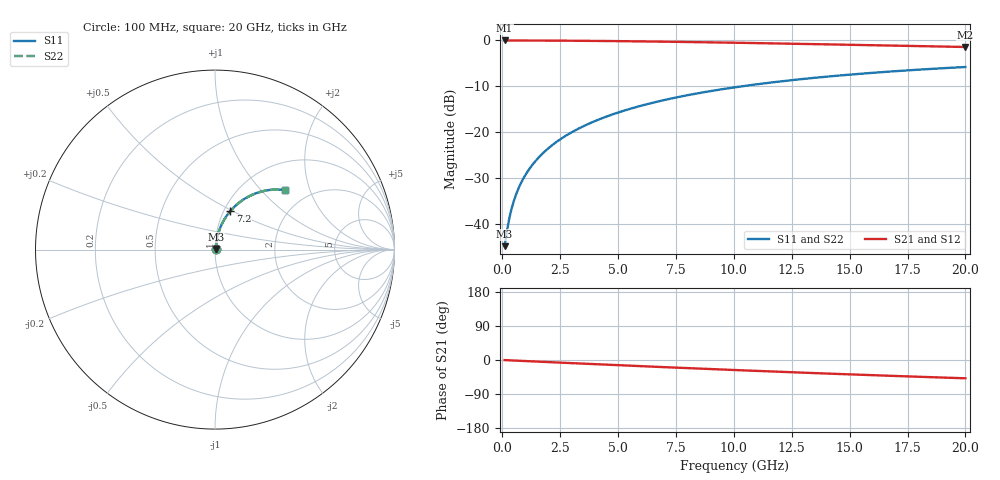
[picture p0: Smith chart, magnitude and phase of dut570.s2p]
! Touchstone file exported from HFSS 2026.1.0
!  File:  C:/ffzhzh/LocalFiles/Ansys_Project_Files/temp_train_BSMRDL_570_1783015505_51716.aedt
!  Generated:  02:06:30 AM Jul  3, 2026
!  Design:  BSMRDL
!  Project:  temp_train_BSMRDL_570_1783015505_51716
! Variables:
!  h_bsmrdl = 3.56um
!  h_ox = 20um
!  h_rdl = 5um
!  h_sub = 80um
!  h_tmrdl = 5um
!  h_tsv = 80um
!  h_via = 3um
!  l_bsmrdl = 662.79um
!  l_sub = 1062.79um
!  l_tmrdl = 200um
!  m_sub = 200um
!  pitch = 50.32um
!  r_tsv = 6um
!  s_tmrdl = 10um
!  w_bsmrdl = 14.57um
!  w_sub = 500um
!  w_tmrdl = 12um
!  x_tsv_center1 = 206um
!  x_tsv_center2 = 883.36um
!  x_tsv_center3 = 1095.36um
!  x_tsv_center4 = 1772.72um
!  x_tsv_center5 = 1984.72um
!  x_tsv_center6 = 2662.08um
# GHz S MA R 50.000000
! Terminal data exported
! Port[1] = BSM_RDL1_1_T1
! Port[2] = BSM_RDL1_1_T2
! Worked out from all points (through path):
!   200 points, 100 MHz to 20 GHz, reference 50 ohm
!   highest |S21| = -0.04 dB at 100 MHz (marker M1); lowest = -1.5 dB at 20 GHz (marker M2)
!   group delay of S21, straight-line fit = 6.72 ps
!   lowest |S11| = -44.7 dB at 100 MHz (marker M3), VSWR 1.01, Z = 50.5 + j0.355 ohm
!   |S11| at or under -10 dB: start of sweep to 10.34 GHz
!   |S22| runs from -44.7 to -5.8 dB; largest |S21 - S12| = 2.6e-15
!   S11 on the Smith chart (normalised r, x): 100 MHz: 1.01, +0.01; 7.2 GHz: 1.07, +0.48; 20 GHz: 1.53, +1.38
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0.1  0.005809 37.3  0.9954 -0.3  0.9954 -0.3  0.005809 37.3
! Gamma 0 0 0 0
! Port Impedance 50 0 50 0
0.2  0.008475 55.8  0.9953 -0.6  0.9953 -0.6  0.008475 55.8
0.3  0.01157 64.6  0.9951 -0.9  0.9951 -0.9  0.01157 64.6
0.4  0.0148 69.4  0.995 -1.1  0.995 -1.1  0.0148 69.4
0.5  0.01806 72.4  0.9948 -1.4  0.9948 -1.4  0.01806 72.4
0.6  0.02134 74.3  0.9946 -1.7  0.9946 -1.7  0.02134 74.3
0.8  0.02791 76.8  0.9943 -2.2  0.9943 -2.2  0.02791 76.8
1.1  0.03779 78.6  0.9938 -3.1  0.9938 -3.1  0.0378 78.6
1.5  0.05101 79.4  0.9931 -4.2  0.9931 -4.2  0.05101 79.4
1.8  0.06093 79.5  0.9924 -5.0  0.9924 -5.0  0.06093 79.5
2.1  0.07083 79.4  0.9916 -5.8  0.9916 -5.8  0.07083 79.4
2.7  0.09054 78.6  0.9897 -7.5  0.9897 -7.5  0.09054 78.6
3.5  0.1166 77.1  0.9866 -9.6  0.9866 -9.6  0.1166 77.1
4.2  0.139 75.6  0.9832 -11.5  0.9832 -11.5  0.139 75.5
5  0.1641 73.7  0.9789 -13.7  0.9789 -13.7  0.1641 73.7
6.8  0.2187 69.3  0.967 -18.4  0.967 -18.4  0.2187 69.3
7.2  0.2304 68.3  0.964 -19.4  0.964 -19.4  0.2304 68.3
8.6  0.2699 65.0  0.9529 -22.9  0.9529 -22.9  0.2699 64.9
10.1  0.31 61.4  0.9399 -26.6  0.9399 -26.6  0.31 61.3
13.4  0.3893 53.9  0.909 -34.4  0.909 -34.4  0.3894 53.8
16.7  0.4567 46.8  0.8767 -41.6  0.8767 -41.6  0.4567 46.8
20  0.5126 40.3  0.8454 -48.3  0.8454 -48.3  0.5127 40.2
